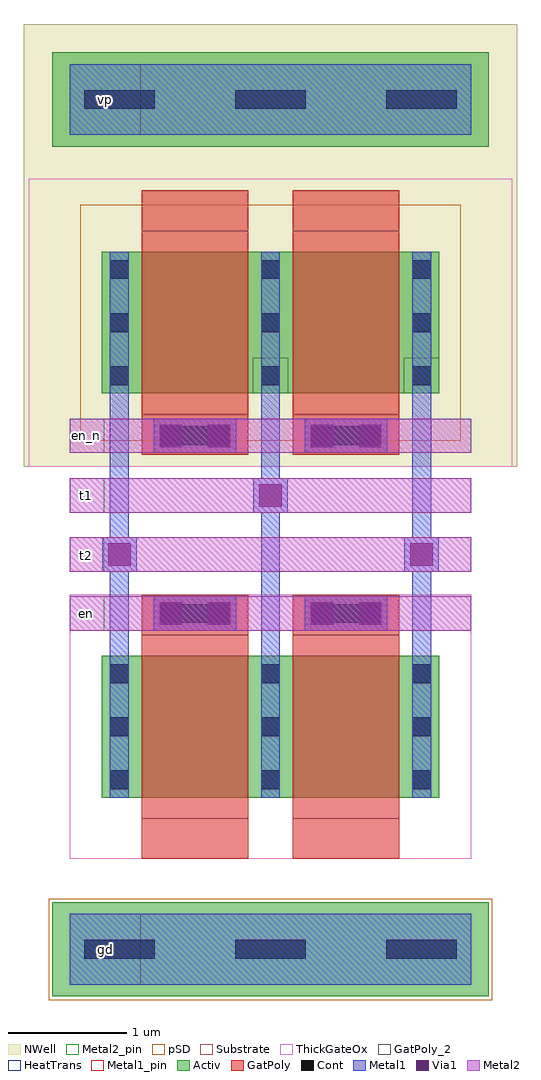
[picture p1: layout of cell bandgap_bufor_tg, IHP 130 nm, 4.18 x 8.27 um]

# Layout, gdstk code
import gdstk
lib = gdstk.Library(unit=1e-6, precision=1e-09)
def R(c, l, rs):  # rectangles x0, y0, x1, y1
    for r in rs: c.add(gdstk.rectangle(r[:2], r[2:], *l))
def A(c, l, x, y, w, h, nx, ny, dx, dy):  # array of equal rectangles
    R(c, l, [(x+i*dx, y+j*dy, x+i*dx+w, y+j*dy+h) for i in range(nx) for j in range(ny)])
Activ = (1, 0)
GatPoly = (5, 0)
GatPoly_2 = (5, 2)
Cont = (6, 0)
Metal1 = (8, 0)
Metal1_pin = (8, 2)
Metal2 = (10, 0)
Metal2_pin = (10, 2)
pSD = (14, 0)
Via1 = (19, 0)
NWell = (31, 0)
Substrate = (40, 0)
ThickGateOx = (44, 0)
HeatTrans = (51, 0)

pmoshv_17 = lib.new_cell('pmosHV$17')
R(pmoshv_17, Activ, [(0,0,0.3,0.3), (0,0,1.58,1.2), (1.28,0,1.58,0.3)])
R(pmoshv_17, GatPoly, [(0.34,-0.18,1.24,1.38)])
R(pmoshv_17, GatPoly_2, [(0.34,-0.18,1.24,1.38)])
A(pmoshv_17, Cont, 0.07, 0.07, 0.16, 0.16, 1, 3, 0, 0.45)
A(pmoshv_17, Cont, 1.35, 0.07, 0.16, 0.16, 1, 3, 0, 0.45)
R(pmoshv_17, Metal1, [(0.07,0,0.23,1.2), (1.35,0,1.51,1.2)])
R(pmoshv_17, Metal1_pin, [(0.07,0,0.23,1.2), (1.35,0,1.51,1.2)])
R(pmoshv_17, pSD, [(-0.18,-0.4,1.76,1.6)])
R(pmoshv_17, NWell, [(-0.62,-0.62,2.2,1.82)])
R(pmoshv_17, Substrate, [(1.28,0,1.58,0.3)])
R(pmoshv_17, ThickGateOx, [(-0.62,-0.62,2.2,1.82)])
R(pmoshv_17, HeatTrans, [(0.34,-0.18,1.24,1.38)])
pmoshv_17.add(gdstk.Label('pmosHV', (0.79,0.6), layer=63, texttype=0))
pmoshv_17.add(gdstk.Label('pmos', (0.79,0.6), layer=51, texttype=0))

nmoshv_8 = lib.new_cell('nmosHV$8')
R(nmoshv_8, Activ, [(0,0,0.3,0.3), (0,0,1.58,1.2), (1.28,0,1.58,0.3)])
R(nmoshv_8, GatPoly, [(0.34,-0.18,1.24,1.38)])
R(nmoshv_8, GatPoly_2, [(0.34,-0.18,1.24,1.38)])
A(nmoshv_8, Cont, 0.07, 0.07, 0.16, 0.16, 1, 3, 0, 0.45)
A(nmoshv_8, Cont, 1.35, 0.07, 0.16, 0.16, 1, 3, 0, 0.45)
R(nmoshv_8, Metal1, [(0.07,0,0.23,1.2), (1.35,0,1.51,1.2)])
R(nmoshv_8, Metal1_pin, [(0.07,0,0.23,1.2), (1.35,0,1.51,1.2)])
R(nmoshv_8, ThickGateOx, [(-0.27,-0.52,1.85,1.72)])
R(nmoshv_8, HeatTrans, [(0.34,-0.18,1.24,1.38)])
nmoshv_8.add(gdstk.Label('nmosHV', (0.79,0.6), layer=63, texttype=0))
nmoshv_8.add(gdstk.Label('nmosHV', (0.79,0.6), layer=51, texttype=0))

via_stack = lib.new_cell('via_stack')
R(via_stack, Metal1, [(-0.35,-0.145,0.35,0.145)])
R(via_stack, Metal2, [(-0.35,-0.145,0.35,0.145)])
R(via_stack, Via1, [(-0.3,-0.095,-0.11,0.095), (0.11,-0.095,0.3,0.095)])

via_stack_1 = lib.new_cell('via_stack$1')
R(via_stack_1, Metal1, [(-0.145,-0.145,0.145,0.145)])
R(via_stack_1, Metal2, [(-0.145,-0.145,0.145,0.145)])
R(via_stack_1, Via1, [(-0.095,-0.095,0.095,0.095)])

bandgap_bufor_tg = lib.new_cell('bandgap_bufor_tg')
R(bandgap_bufor_tg, Activ, [(0.24,0.03,3.94,0.83), (0.24,7.23,3.94,8.03)])
A(bandgap_bufor_tg, Cont, 0.51, 0.35, 0.6, 0.16, 3, 2, 1.28, 7.2)
R(bandgap_bufor_tg, Cont, [(1.15,3.195,1.75,3.355), (1.15,3.195,1.75,3.355), (2.43,3.195,3.03,3.355), (2.43,3.195,3.03,3.355), (1.15,4.7,1.75,4.86), (1.15,4.7,1.75,4.86), (2.43,4.7,3.03,4.86), (2.43,4.7,3.03,4.86)])
R(bandgap_bufor_tg, Metal1, [(0.39,0.13,3.79,0.73), (0.39,7.33,3.79,7.93)])
R(bandgap_bufor_tg, Metal1_pin, [(0.39,0.13,0.99,0.73), (0.39,7.33,0.99,7.93)])
A(bandgap_bufor_tg, Metal2_pin, 0.39, 3.13, 0.29, 0.29, 1, 3, 0, 0.5)
R(bandgap_bufor_tg, Metal2_pin, [(0.39,4.635,0.68,4.925)])
R(bandgap_bufor_tg, pSD, [(0.21,0,3.97,0.86)])
R(bandgap_bufor_tg, NWell, [(0,4.52,4.18,8.27)])
bandgap_bufor_tg.add(gdstk.FlexPath([(2.09,1.715),(2.09,6.34)], 0.16, ends="flush", simple_path=True, layer=8, datatype=0))  # Metal1
bandgap_bufor_tg.add(gdstk.FlexPath([(3.37,1.715),(3.37,6.34)], 0.16, ends="flush", simple_path=True, layer=8, datatype=0))  # Metal1
bandgap_bufor_tg.add(gdstk.FlexPath([(0.81,1.715),(0.81,6.34)], 0.16, ends="flush", simple_path=True, layer=8, datatype=0))  # Metal1
bandgap_bufor_tg.add(gdstk.FlexPath([(2.73,3.435),(2.73,1.195)], 0.9, ends="flush", simple_path=True, layer=5, datatype=0))  # GatPoly
bandgap_bufor_tg.add(gdstk.FlexPath([(1.45,3.435),(1.45,1.195)], 0.9, ends="flush", simple_path=True, layer=5, datatype=0))  # GatPoly
bandgap_bufor_tg.add(gdstk.FlexPath([(1.45,3.435),(1.45,1.195)], 0.9, ends="flush", simple_path=True, layer=5, datatype=0))  # GatPoly
bandgap_bufor_tg.add(gdstk.FlexPath([(2.73,3.435),(2.73,1.195)], 0.9, ends="flush", simple_path=True, layer=5, datatype=0))  # GatPoly
bandgap_bufor_tg.add(gdstk.FlexPath([(2.73,4.62),(2.73,6.86)], 0.9, ends="flush", simple_path=True, layer=5, datatype=0))  # GatPoly
bandgap_bufor_tg.add(gdstk.FlexPath([(1.45,4.62),(1.45,6.86)], 0.9, ends="flush", simple_path=True, layer=5, datatype=0))  # GatPoly
bandgap_bufor_tg.add(gdstk.FlexPath([(1.45,4.62),(1.45,6.86)], 0.9, ends="flush", simple_path=True, layer=5, datatype=0))  # GatPoly
bandgap_bufor_tg.add(gdstk.FlexPath([(2.73,4.62),(2.73,6.86)], 0.9, ends="flush", simple_path=True, layer=5, datatype=0))  # GatPoly
bandgap_bufor_tg.add(gdstk.FlexPath([(3.79,4.275),(0.39,4.275)], 0.29, ends="flush", simple_path=True, layer=10, datatype=0))  # Metal2
bandgap_bufor_tg.add(gdstk.FlexPath([(3.79,3.775),(0.39,3.775)], 0.29, ends="flush", simple_path=True, layer=10, datatype=0))  # Metal2
bandgap_bufor_tg.add(gdstk.FlexPath([(0.39,3.275),(3.79,3.275)], 0.29, ends="flush", simple_path=True, layer=10, datatype=0))  # Metal2
bandgap_bufor_tg.add(gdstk.FlexPath([(0.39,4.78),(3.79,4.78)], 0.29, ends="flush", simple_path=True, layer=10, datatype=0))  # Metal2
bandgap_bufor_tg.add(gdstk.Reference(pmoshv_17, (0.66,5.14)))
bandgap_bufor_tg.add(gdstk.Reference(pmoshv_17, (1.94,5.14)))
bandgap_bufor_tg.add(gdstk.Reference(nmoshv_8, (1.94,1.715)))
bandgap_bufor_tg.add(gdstk.Reference(nmoshv_8, (0.66,1.715)))
bandgap_bufor_tg.add(gdstk.Reference(via_stack, (1.45,4.78)))
bandgap_bufor_tg.add(gdstk.Reference(via_stack, (2.73,4.78)))
bandgap_bufor_tg.add(gdstk.Reference(via_stack, (1.45,3.275)))
bandgap_bufor_tg.add(gdstk.Reference(via_stack, (2.73,3.275)))
bandgap_bufor_tg.add(gdstk.Reference(via_stack_1, (2.09,4.275)))
bandgap_bufor_tg.add(gdstk.Reference(via_stack_1, (0.81,3.775)))
bandgap_bufor_tg.add(gdstk.Reference(via_stack_1, (3.37,3.775)))
bandgap_bufor_tg.add(gdstk.Label('t1', (0.535,4.275), layer=10, texttype=25))
bandgap_bufor_tg.add(gdstk.Label('t2', (0.535,3.77), layer=10, texttype=25))
bandgap_bufor_tg.add(gdstk.Label('en', (0.535,3.275), layer=10, texttype=25))
bandgap_bufor_tg.add(gdstk.Label('en_n', (0.535,4.785), layer=10, texttype=25))
bandgap_bufor_tg.add(gdstk.Label('gd', (0.69,0.43), layer=8, texttype=25))
bandgap_bufor_tg.add(gdstk.Label('vp', (0.69,7.63), layer=8, texttype=25))

lib.write_gds('bandgap_bufor_tg.gds')
